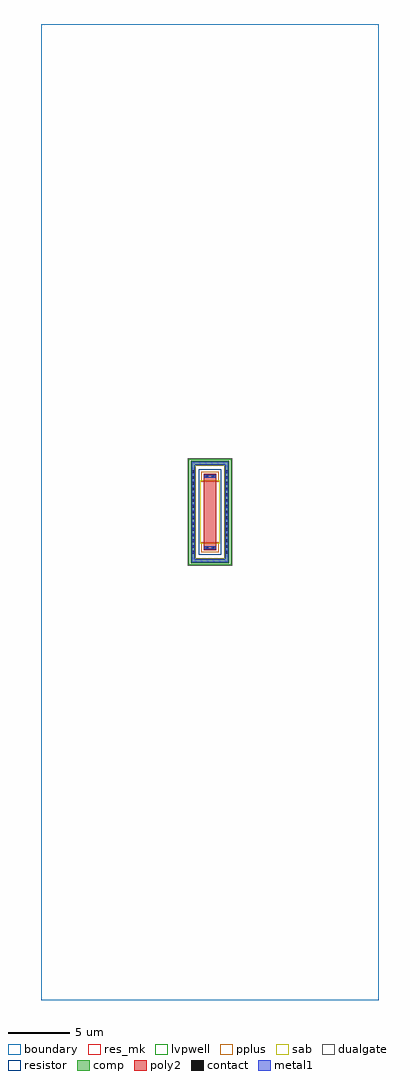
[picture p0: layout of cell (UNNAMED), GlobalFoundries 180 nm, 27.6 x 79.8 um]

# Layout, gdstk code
import gdstk
lib = gdstk.Library(unit=1e-6, precision=1e-09)
def R(c, l, rs):  # rectangles x0, y0, x1, y1
    for r in rs: c.add(gdstk.rectangle(r[:2], r[2:], *l))
def A(c, l, x, y, w, h, nx, ny, dx, dy):  # array of equal rectangles
    R(c, l, [(x+i*dx, y+j*dy, x+i*dx+w, y+j*dy+h) for i in range(nx) for j in range(ny)])
boundary = (0, 0)
comp = (22, 0)
poly2 = (30, 0)
pplus = (31, 0)
contact = (33, 0)
metal1 = (34, 0)
sab = (49, 0)
dualgate = (55, 0)
resistor = (62, 0)
res_mk = (110, 5)
lvpwell = (204, 0)

c__unnamed_ = lib.new_cell('(UNNAMED)')
R(c__unnamed_, boundary, [(-13.8,-39.9,13.8,39.9)])
R(c__unnamed_, comp, [(-1.56,-4.17,1.56,-3.81), (-1.56,-3.81,-1.2,3.81), (1.2,-3.81,1.56,3.81), (-1.56,3.81,1.56,4.17)])
R(c__unnamed_, poly2, [(-0.5,-3.11,0.5,3.11)])
R(c__unnamed_, pplus, [(-1.58,-4.19,1.58,-3.79), (-1.58,-3.79,-1.17,-3.685), (1.17,-3.79,1.58,-3.685), (-1.59,-3.685,-1.17,3.685), (1.17,-3.685,1.59,3.685), (-0.7,-3.31,0.7,-2.5), (-0.7,2.5,0.7,3.31), (-1.58,3.685,-1.17,3.79), (1.17,3.685,1.58,3.79), (-1.58,3.79,1.58,4.19)])
A(c__unnamed_, contact, -1.49, -3.4, 0.22, 0.22, 1, 15, 0, 0.47)
A(c__unnamed_, contact, 1.27, -3.4, 0.22, 0.22, 1, 15, 0, 0.47)
R(c__unnamed_, contact, [(-0.345,-3.04,-0.125,-2.82), (0.125,-3.04,0.345,-2.82), (-0.345,2.82,-0.125,3.04), (0.125,2.82,0.345,3.04)])
R(c__unnamed_, metal1, [(-1.495,-4.105,1.495,-3.875), (-1.495,-3.875,-1.265,3.875), (1.265,-3.875,1.495,3.875), (-0.49,-3.045,0.49,-2.815), (-0.49,2.815,0.49,3.045), (-1.495,3.875,1.495,4.105)])
R(c__unnamed_, sab, [(-0.78,-2.6,0.78,2.6), (-0.78,-2.5,0.78,2.5)])
R(c__unnamed_, dualgate, [(-1.8,-4.41,1.8,4.41)])
R(c__unnamed_, resistor, [(-0.9,-3.51,0.9,3.51)])
R(c__unnamed_, res_mk, [(-0.78,-2.5,0.78,2.5), (-0.5,-2.5,0.5,2.5)])
R(c__unnamed_, lvpwell, [(-1.72,-4.33,1.72,4.33)])

lib.write_gds('_UNNAMED_.gds')
